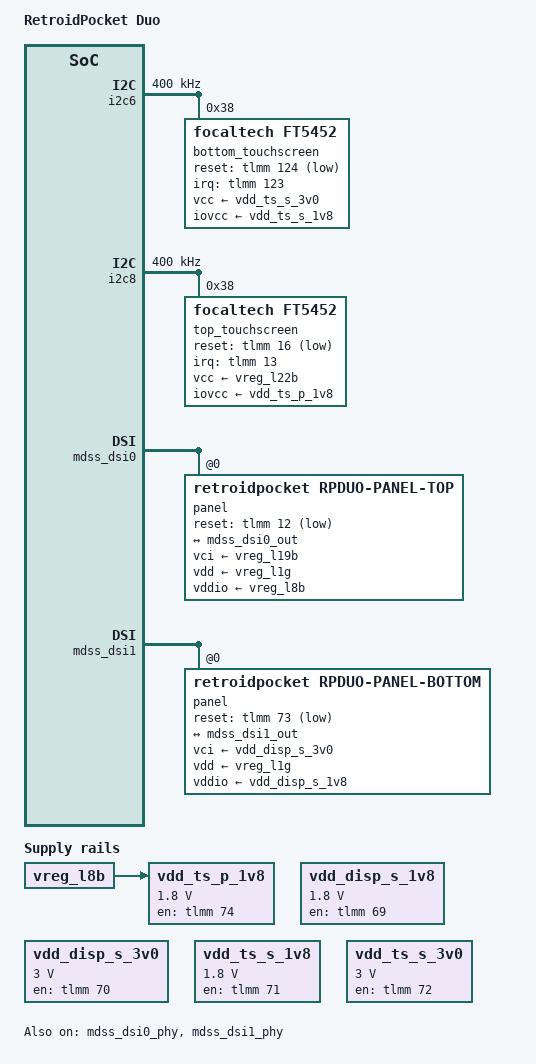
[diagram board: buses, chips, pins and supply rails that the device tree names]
// SPDX-License-Identifier: BSD-3-Clause
/*
 * Copyright (c) 2026, Teguh Sobirin.
 */

/dts-v1/;

#include "eliza-retroidpocket-common.dtsi"

/ {
	model = "RetroidPocket Duo";
	compatible = "retroidpocket,rpduo", "qcom,eliza";

	vdd_disp_s_1v8: vdd-disp-s-1v8-regulator {
		compatible = "regulator-fixed";
		regulator-name = "vdd_disp_s_1v8";

		regulator-min-microvolt = <1800000>;
		regulator-max-microvolt = <1800000>;
		regulator-enable-ramp-delay = <233>;

		gpio = <&tlmm 69 GPIO_ACTIVE_HIGH>;
		enable-active-high;
	};

	vdd_disp_s_3v0: vdd-disp-s-3v0-regulator {
		compatible = "regulator-fixed";
		regulator-name = "vdd_disp_s_3v0";

		regulator-min-microvolt = <3000000>;
		regulator-max-microvolt = <3000000>;
		regulator-enable-ramp-delay = <233>;

		gpio = <&tlmm 70 GPIO_ACTIVE_HIGH>;
		enable-active-high;
	};

	vdd_ts_p_1v8: vdd-ts-p-1v8-regulator {
		compatible = "regulator-fixed";
		regulator-name = "vdd_ts_p_1v8";

		regulator-min-microvolt = <1800000>;
		regulator-max-microvolt = <1800000>;

		gpio = <&tlmm 74 GPIO_ACTIVE_HIGH>;
		enable-active-high;

		vin-supply = <&vreg_l8b>;
	};

	vdd_ts_s_1v8: vdd-ts-s-1v8-regulator {
		compatible = "regulator-fixed";
		regulator-name = "vdd_ts_s_1v8";

		regulator-min-microvolt = <1800000>;
		regulator-max-microvolt = <1800000>;

		gpio = <&tlmm 71 GPIO_ACTIVE_HIGH>;
		enable-active-high;
	};

	vdd_ts_s_3v0: vdd-ts-s-3v0-regulator {
		compatible = "regulator-fixed";
		regulator-name = "vdd_ts_s_3v0";

		regulator-min-microvolt = <3000000>;
		regulator-max-microvolt = <3000000>;

		gpio = <&tlmm 72 GPIO_ACTIVE_HIGH>;
		enable-active-high;
	};
};

&gpu_zap_shader {
	firmware-name = "qcom/eliza/retroidpocket/rpduo/gen71700_zap.mbn";
};

&i2c6 {
	clock-frequency = <400000>;
	status = "okay";

	touchscreen@38 {
		label = "bottom_touchscreen";
		compatible = "focaltech,ft5452";
		reg = <0x38>;
		#address-cells = <1>;
		#size-cells = <0>;

		interrupt-parent = <&tlmm>;
		interrupts = <123 IRQ_TYPE_EDGE_FALLING>;

		reset-gpios = <&tlmm 124 GPIO_ACTIVE_LOW>;

		vcc-supply = <&vdd_ts_s_3v0>;
		iovcc-supply = <&vdd_ts_s_1v8>;

		pinctrl-0 = <&ts_s_rst_default &ts_s_int_default>;
		pinctrl-1 = <&ts_s_rst_sleep &ts_s_int_sleep>;
		pinctrl-names = "default", "sleep";

		touchscreen-size-x = <1280>;
		touchscreen-size-y = <960>;
	};
};

&i2c8 {
	clock-frequency = <400000>;
	status = "okay";

	touchscreen@38 {
		label = "top_touchscreen";
		compatible = "focaltech,ft5452";
		reg = <0x38>;
		#address-cells = <1>;
		#size-cells = <0>;

		interrupt-parent = <&tlmm>;
		interrupts = <13 IRQ_TYPE_EDGE_FALLING>;

		reset-gpios = <&tlmm 16 GPIO_ACTIVE_LOW>;

		vcc-supply = <&vreg_l22b>;
		iovcc-supply = <&vdd_ts_p_1v8>;

		pinctrl-0 = <&ts_p_rst_default &ts_p_int_default>;
		pinctrl-1 = <&ts_p_rst_sleep &ts_p_int_sleep>;
		pinctrl-names = "default", "sleep";

		touchscreen-size-x = <1080>;
		touchscreen-size-y = <1920>;
		touchscreen-inverted-y;
	};
};

&mdss_dsi0 {
	vdda-supply = <&vreg_l4b>;

	status = "okay";

	panel@0 {
		compatible = "retroidpocket,rpduo-panel-top";
		reg = <0>;

		reset-gpios = <&tlmm 12 GPIO_ACTIVE_LOW>;

		vci-supply = <&vreg_l19b>;
		vdd-supply = <&vreg_l1g>;
		vddio-supply = <&vreg_l8b>;

		pinctrl-0 = <&dsi_p_rst_n_active>, <&dsi_p_te>;
		pinctrl-1 = <&dsi_p_rst_n_suspend>, <&dsi_p_te>;
		pinctrl-names = "default", "sleep";

		rotation = <270>;

		port {
			panel0_in: endpoint {
				remote-endpoint = <&mdss_dsi0_out>;
			};
		};
	};
};

&mdss_dsi0_out {
	remote-endpoint = <&panel0_in>;
	data-lanes = <0 1 2 3>;
};

&mdss_dsi0_phy {
	vdds-supply = <&vreg_l2b>;

	status = "okay";
};

&mdss_dsi1 {
	vdda-supply = <&vreg_l4b>;

	status = "okay";

	panel@0 {
		compatible = "retroidpocket,rpduo-panel-bottom";
		reg = <0>;

		reset-gpios = <&tlmm 73 GPIO_ACTIVE_LOW>;

		vci-supply = <&vdd_disp_s_3v0>;
		vdd-supply = <&vreg_l1g>;
		vddio-supply = <&vdd_disp_s_1v8>;

		pinctrl-0 = <&dsi_s_rst_n_active>, <&dsi_s_te>;
		pinctrl-1 = <&dsi_s_rst_n_suspend>, <&dsi_s_te>;
		pinctrl-names = "default", "sleep";

		port {
			panel1_in: endpoint {
				remote-endpoint = <&mdss_dsi1_out>;
			};
		};
	};
};

&mdss_dsi1_out {
	remote-endpoint = <&panel1_in>;
	data-lanes = <0 1 2 3>;
	qcom,te-source = "mdp_vsync_s";
};

&mdss_dsi1_phy {
	vdds-supply = <&vreg_l2b>;

	status = "okay";
};

&remoteproc_adsp {
	firmware-name = "qcom/eliza/retroidpocket/rpduo/adsp.mbn",
			"qcom/eliza/retroidpocket/rpduo/adsp_dtb.mbn";
};

&remoteproc_cdsp {
	firmware-name = "qcom/eliza/retroidpocket/rpduo/cdsp.mbn",
			"qcom/eliza/retroidpocket/rpduo/cdsp_dtb.mbn";
};

&remoteproc_wpss {
	firmware-name = "qcom/eliza/retroidpocket/rpduo/wpss.mbn";
};

&spk_amp_l {
	firmware-name = "qcom/eliza/retroidpocket/rpduo/aw883xx_acf.bin";
};

&spk_amp_r {
	firmware-name = "qcom/eliza/retroidpocket/rpduo/aw883xx_acf.bin";
};

&tlmm {
	dsi_p_rst_n_active: dsi-p-rst-n-active-state {
		pins = "gpio12";
		function = "gpio";
		drive-strength = <8>;
		bias-disable;
	};

	dsi_p_rst_n_suspend: dsi-p-rst-n-suspend-state {
		pins = "gpio12";
		function = "gpio";
		drive-strength = <2>;
		bias-pull-down;
	};

	dsi_p_te: dsi-p-te-state {
		pins = "gpio17";
		function = "mdp_vsync";
		drive-strength = <2>;
		bias-pull-down;
	};

	dsi_s_rst_n_active: dsi-s-rst-n-active-state {
		pins = "gpio73";
		function = "gpio";
		drive-strength = <8>;
		bias-disable;
	};

	dsi_s_rst_n_suspend: dsi-s-rst-n-suspend-state {
		pins = "gpio73";
		function = "gpio";
		drive-strength = <2>;
		bias-pull-down;
	};

	dsi_s_te: dsi-s-te-state {
		pins = "gpio121";
		function = "mdp_vsync";
		drive-strength = <2>;
		bias-pull-down;
	};

	ts_p_rst_default: ts-p-rst-default-state {
		pins = "gpio16";
		function = "gpio";
		bias-pull-up;
		drive-strength = <8>;
	};

	ts_p_rst_sleep: ts-p-rst-sleep-state {
		pins = "gpio16";
		function = "gpio";
		bias-pull-down;
		drive-strength = <2>;
	};

	ts_p_int_default: ts-p-int-default-state {
		pins = "gpio13";
		function = "gpio";
		bias-pull-up;
		drive-strength = <8>;
	};

	ts_p_int_sleep: ts-p-int-sleep-state {
		pins = "gpio13";
		function = "gpio";
		bias-pull-down;
		drive-strength = <2>;
	};

	ts_s_rst_default: ts-s-rst-default-state {
		pins = "gpio124";
		function = "gpio";
		bias-pull-up;
		drive-strength = <8>;
	};

	ts_s_rst_sleep: ts-s-rst-sleep-state {
		pins = "gpio124";
		function = "gpio";
		bias-pull-down;
		drive-strength = <2>;
	};

	ts_s_int_default: ts-s-int-default-state {
		pins = "gpio123";
		function = "gpio";
		bias-pull-up;
		drive-strength = <8>;
	};

	ts_s_int_sleep: ts-s-int-sleep-state {
		pins = "gpio123";
		function = "gpio";
		bias-pull-down;
		drive-strength = <2>;
	};
};
